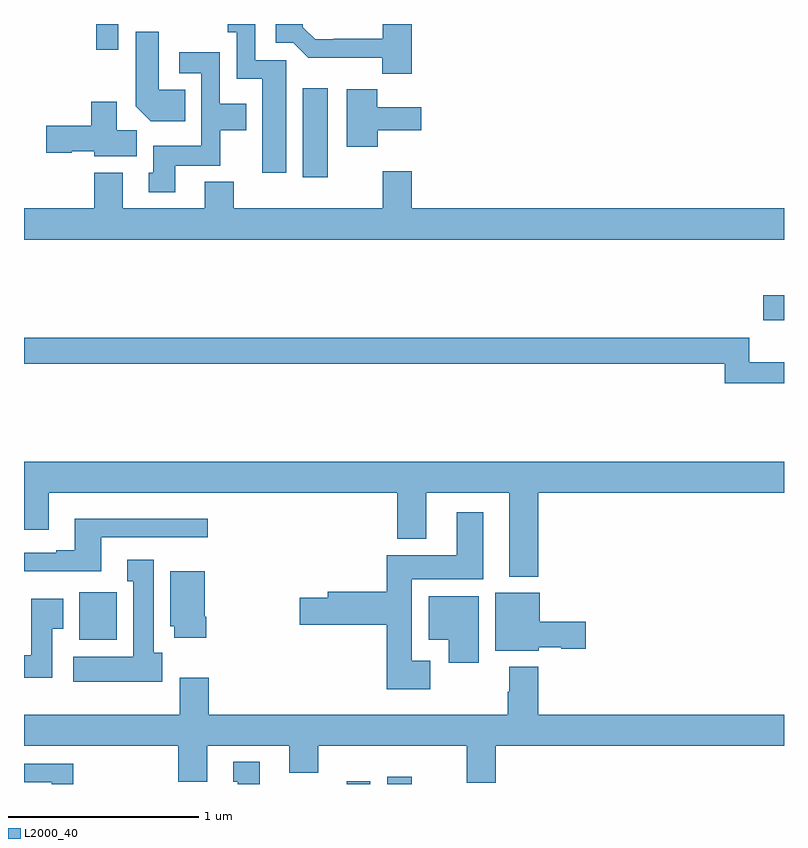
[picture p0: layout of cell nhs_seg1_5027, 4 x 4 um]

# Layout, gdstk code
import gdstk
lib = gdstk.Library(unit=1e-6, precision=1e-09)
def R(c, l, rs):  # rectangles x0, y0, x1, y1
    for r in rs: c.add(gdstk.rectangle(r[:2], r[2:], *l))
def P(c, l, *ps):  # polygons
    for p in ps: c.add(gdstk.Polygon(p, *l))
L2000_40 = (2000, 40)

nhs_seg1_5027 = lib.new_cell('nhs_seg1_5027')
R(nhs_seg1_5027, L2000_40, [(384.698,550.199,384.823,550.213), (384.911,550.199,385.042,550.237), (383.291,550.958,383.487,551.209), (386.892,552.641,387,552.771), (384.467,553.392,384.598,553.861), (383.38,554.064,383.496,554.199)])
P(nhs_seg1_5027, L2000_40, [(385.04,554.199),(384.887,554.199),(384.887,554.121),(384.631,554.121),(384.631,554.118),(384.532,554.118),(384.468,554.182),(384.468,554.197),(384.324,554.197),(384.324,554.1),(384.417,554.1),(384.496,554.022),(384.885,554.022),(384.885,553.937),(385.04,553.937)],
  [(384.379,554.007),(384.216,554.007),(384.216,554.199),(384.073,554.199),(384.073,554.155),(384.12,554.155),(384.12,553.91),(384.254,553.91),(384.254,553.416),(384.379,553.416)],
  [(383.849,553.852),(383.71,553.852),(383.71,554.158),(383.588,554.158),(383.588,553.766),(383.666,553.688),(383.849,553.688)],
  [(383.797,553.454),(384.033,553.454),(384.033,553.64),(384.169,553.64),(384.169,553.78),(384.03,553.78),(384.03,554.05),(383.817,554.05),(383.817,553.941),(383.934,553.941),(383.934,553.558),(383.681,553.558),(383.681,553.416),(383.657,553.416),(383.657,553.314),(383.797,553.314)],
  [(384.862,553.64),(385.09,553.64),(385.09,553.762),(384.86,553.762),(384.86,553.855),(384.698,553.855),(384.698,553.554),(384.862,553.554)],
  [(383.593,553.64),(383.488,553.64),(383.488,553.789),(383.354,553.789),(383.354,553.664),(383.118,553.664),(383.118,553.522),(383.25,553.522),(383.25,553.529),(383.37,553.529),(383.37,553.502),(383.593,553.502)],
  [(387,553.228),(385.04,553.228),(385.04,553.423),(384.887,553.423),(384.887,553.228),(384.104,553.228),(384.104,553.369),(383.951,553.369),(383.951,553.228),(383.521,553.228),(383.521,553.417),(383.369,553.417),(383.369,553.228),(383,553.228),(383,553.064),(387,553.064)],
  [(387,552.42),(386.818,552.42),(386.818,552.548),(383,552.548),(383,552.412),(386.689,552.412),(386.689,552.309),(387,552.309)],
  [(385.706,551.732),(387,551.732),(387,551.896),(383,551.896),(383,551.538),(383.131,551.538),(383.131,551.732),(384.965,551.732),(384.965,551.489),(385.117,551.489),(385.117,551.732),(385.553,551.732),(385.553,551.291),(385.706,551.291)],
  [(385.138,550.849),(385.042,550.849),(385.042,551.276),(385.417,551.276),(385.417,551.629),(385.277,551.629),(385.277,551.404),(384.908,551.404),(384.908,551.21),(384.599,551.21),(384.599,551.18),(384.45,551.18),(384.45,551.038),(384.908,551.038),(384.908,550.697),(385.138,550.697)],
  [(383.407,551.499),(383.968,551.499),(383.968,551.596),(383.267,551.596),(383.267,551.428),(383.171,551.428),(383.171,551.415),(383,551.415),(383,551.318),(383.407,551.318)],
  [(383.728,550.89),(383.683,550.89),(383.683,551.38),(383.543,551.38),(383.543,551.267),(383.576,551.267),(383.576,550.87),(383.259,550.87),(383.259,550.736),(383.728,550.736)],
  [(383.958,551.08),(383.95,551.08),(383.95,551.32),(383.771,551.32),(383.771,551.028),(383.792,551.028),(383.792,550.968),(383.958,550.968)],
  [(385.71,550.919),(385.827,550.919),(385.827,550.912),(385.957,550.912),(385.957,551.054),(385.714,551.054),(385.714,551.206),(385.481,551.206),(385.481,550.901),(385.71,550.901)],
  [(385.393,551.188),(385.13,551.188),(385.13,550.958),(385.235,550.958),(385.235,550.836),(385.393,550.836)],
  [(383.149,551.017),(383.206,551.017),(383.206,551.173),(383.039,551.173),(383.039,550.876),(383,550.876),(383,550.758),(383.149,550.758)],
  [(385.484,550.4),(387,550.4),(387,550.564),(385.706,550.564),(385.706,550.816),(385.553,550.816),(385.553,550.685),(385.546,550.685),(385.546,550.564),(383.972,550.564),(383.972,550.759),(383.819,550.759),(383.819,550.564),(383,550.564),(383,550.4),(383.813,550.4),(383.813,550.211),(383.965,550.211),(383.965,550.4),(384.395,550.4),(384.395,550.259),(384.548,550.259),(384.548,550.4),(385.331,550.4),(385.331,550.206),(385.484,550.206)],
  [(384.241,550.315),(384.101,550.315),(384.101,550.212),(384.125,550.212),(384.125,550.199),(384.241,550.199)],
  [(383.26,550.305),(383,550.305),(383,550.209),(383.147,550.209),(383.147,550.199),(383.26,550.199)])

lib.write_gds('nhs_seg1_5027.gds')
